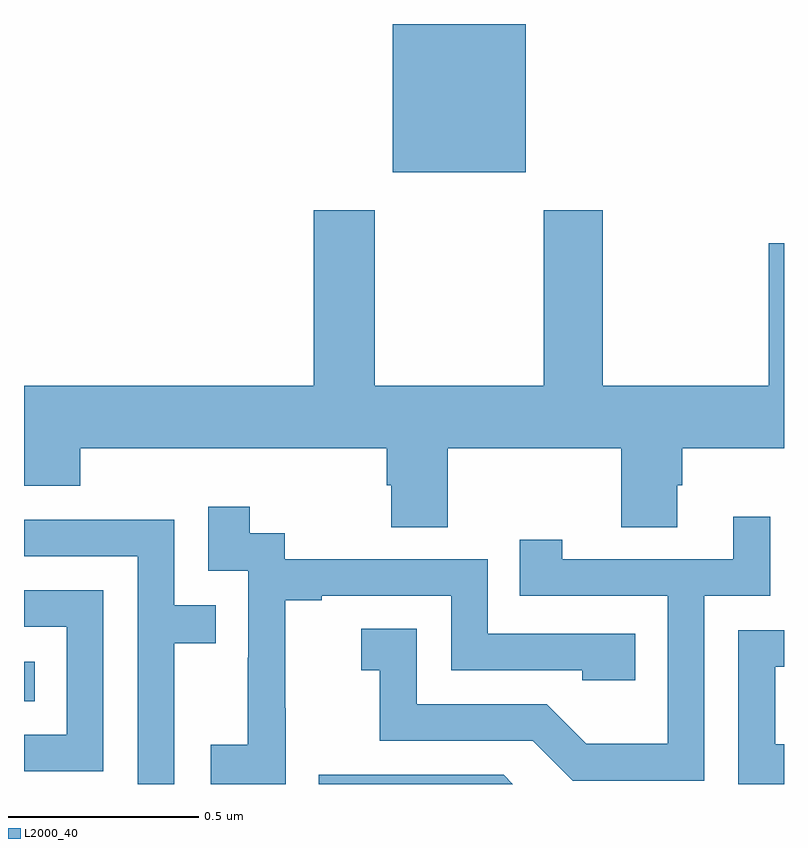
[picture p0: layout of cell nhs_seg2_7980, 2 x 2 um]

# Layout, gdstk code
import gdstk
lib = gdstk.Library(unit=1e-6, precision=1e-09)
def R(c, l, rs):  # rectangles x0, y0, x1, y1
    for r in rs: c.add(gdstk.rectangle(r[:2], r[2:], *l))
def P(c, l, *ps):  # polygons
    for p in ps: c.add(gdstk.Polygon(p, *l))
L2000_40 = (2000, 40)

nhs_seg2_7980 = lib.new_cell('nhs_seg2_7980')
R(nhs_seg2_7980, L2000_40, [(211,599.018,211.028,599.122), (211.97,600.41,212.32,600.8)])
P(nhs_seg2_7980, L2000_40, [(212.115,599.684),(212.572,599.684),(212.572,599.476),(212.719,599.476),(212.719,599.586),(212.732,599.586),(212.732,599.684),(213,599.684),(213,600.223),(212.96,600.223),(212.96,599.848),(212.523,599.848),(212.523,600.31),(212.368,600.31),(212.368,599.848),(211.923,599.848),(211.923,600.31),(211.763,600.31),(211.763,599.848),(211,599.848),(211,599.585),(211.148,599.585),(211.148,599.684),(211.955,599.684),(211.955,599.586),(211.967,599.586),(211.967,599.476),(212.115,599.476)],
  [(211.689,598.999),(211.688,598.999),(211.688,599.283),(211.783,599.283),(211.783,599.295),(212.124,599.295),(212.124,599.1),(212.469,599.1),(212.469,599.073),(212.609,599.073),(212.609,599.196),(212.22,599.196),(212.22,599.391),(211.686,599.391),(211.686,599.46),(211.594,599.46),(211.594,599.53),(211.485,599.53),(211.485,599.361),(211.59,599.361),(211.59,599.132),(211.589,599.132),(211.589,598.903),(211.491,598.903),(211.491,598.8),(211.689,598.8)],
  [(212.79,599.295),(212.964,599.295),(212.964,599.503),(212.867,599.503),(212.867,599.391),(212.416,599.391),(212.416,599.443),(212.305,599.443),(212.305,599.295),(212.694,599.295),(212.694,598.906),(212.48,598.906),(212.376,599.01),(212.034,599.01),(212.034,599.209),(211.887,599.209),(211.887,599.099),(211.936,599.099),(211.936,598.914),(212.339,598.914),(212.444,598.809),(212.79,598.809)],
  [(211.395,599.17),(211.505,599.17),(211.505,599.271),(211.395,599.271),(211.395,599.496),(211,599.496),(211,599.4),(211.299,599.4),(211.299,598.8),(211.395,598.8)],
  [(211.209,599.31),(211,599.31),(211,599.214),(211.113,599.214),(211.113,598.929),(211,598.929),(211,598.833),(211.209,598.833)],
  [(213,598.905),(212.977,598.905),(212.977,599.109),(213,599.109),(213,599.205),(212.88,599.205),(212.88,598.8),(213,598.8)],
  [(212.262,598.824),(211.776,598.824),(211.776,598.8),(212.286,598.8)])

lib.write_gds('nhs_seg2_7980.gds')
